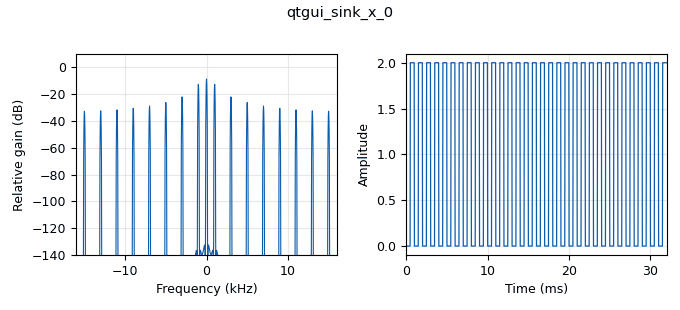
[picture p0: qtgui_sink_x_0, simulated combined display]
options:
  parameters:
    generate_options: qt_gui
    id: DemocanalNaoLinear
    output_language: python
    title: Not titled yet
  states: {}

blocks:
- name: samp_rate
  id: variable
  parameters:
    value: '32000'
  states: {}
- name: analog_sig_source_x_0
  id: analog_sig_source_x
  parameters:
    amp: '1'
    freq: '1000'
    offset: '0'
    phase: '0'
    samp_rate: samp_rate
    type: float
    waveform: analog.GR_SQR_WAVE
  states: {}
- name: blocks_add_xx_0
  id: blocks_add_xx
  parameters:
    type: float
  states: {}
- name: blocks_multiply_const_vxx_0
  id: blocks_multiply_const_vxx
  parameters:
    const: '1'
    type: float
  states: {}
- name: blocks_multiply_xx_0
  id: blocks_multiply_xx
  parameters:
    type: float
  states: {}
- name: blocks_throttle_0
  id: blocks_throttle
  parameters:
    samples_per_second: samp_rate
    type: float
  states: {}
- name: qtgui_sink_x_0
  id: qtgui_sink_x
  parameters:
    bw: samp_rate
    fc: '0'
    fftsize: '1024'
    type: float
    wintype: firdes.WIN_BLACKMAN_hARRIS
  states: {}

connections:
- [analog_sig_source_x_0, '0', blocks_multiply_xx_0, '0']
- [analog_sig_source_x_0, '0', blocks_multiply_xx_0, '1']
- [analog_sig_source_x_0, '0', blocks_throttle_0, '0']
- [blocks_add_xx_0, '0', qtgui_sink_x_0, '0']
- [blocks_multiply_const_vxx_0, '0', blocks_add_xx_0, '1']
- [blocks_multiply_xx_0, '0', blocks_multiply_const_vxx_0, '0']
- [blocks_throttle_0, '0', blocks_add_xx_0, '0']

metadata:
  file_format: 1
